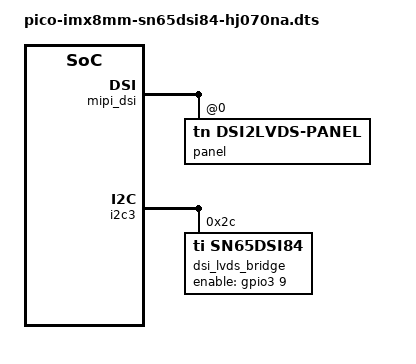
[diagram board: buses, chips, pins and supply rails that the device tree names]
/*
 * Copyright 2018 Technexion Ltd.
 * Copyright 2018 NXP
 *
 * Author: Richard Hu <richard.hu@technexion.com>
 *
 * This program is free software; you can redistribute it and/or
 * modify it under the terms of the GNU General Public License
 * as published by the Free Software Foundation; either version 2
 * of the License, or (at your option) any later version.
 *
 * This program is distributed in the hope that it will be useful,
 * but WITHOUT ANY WARRANTY; without even the implied warranty of
 * MERCHANTABILITY or FITNESS FOR A PARTICULAR PURPOSE.  See the
 * GNU General Public License for more details.
 */

#include "pico-imx8mm.dts"

/ {
	backlight_mipi {
		status = "okay";
	};
};

&mipi_dsi {
	status = "okay";

	panel@0 {
		reg = <0>;
		compatible = "tn,dsi2lvds-panel";
		dsi,flags = <0x0007>;
		dsi,format = <0>;
		dsi,lanes = <4>;
		panel-width-mm  = <153>;
		panel-height-mm = <90>;
		bus-flags = <1>;
		refresh-rate = <60>;
		rotate = <0>;
		/* horz-flip; */
		/* vert-flip; */

		display-timings {
			native-mode = <&timing0>;
			timing0: hj070na {
				clock-frequency = <51000000>;
				hactive = <1024>;
				vactive = <600>;
				hfront-porch = <120>;
				hsync-len = <100>;
				hback-porch = <90>;
				vfront-porch = <1>;
				vsync-len = <33>;
				vback-porch = <1>;
				hsync-active = <1>;
				vsync-active = <1>;
			};
		};
	};
};

&i2c3 {
	dsi_lvds_bridge: sn65dsi84@2c {
		reg = <0x2c>;
		status = "okay";
		compatible = "ti,sn65dsi84";
		#gpio-cells = <2>;
		pinctrl-0 = <&pinctrl_mipi_dsi_rst>;
		enable-gpios = <&gpio3 9 GPIO_ACTIVE_HIGH>;
		sn65dsi84,addresses = <0x09 0x0A 0x0B 0x0D
		                       0x10 0x11 0x12 0x13
                               0x18 0x19 0x1A 0x1B
                               0x20 0x21 0x22 0x23
                               0x24 0x25 0x26 0x27
                               0x28 0x29 0x2A 0x2B
                               0x2C 0x2D 0x2E 0x2F
                               0x30 0x31 0x32 0x33
                               0x34 0x35 0x36 0x37
                               0x38 0x39 0x3A 0x3B
                               0x3C 0x3D 0x3E 0x0D>;

		sn65dsi84,values = </* reset and clock registers */
		                    0x00 0x03 0x10 0x00
                            /* DSI registers */
		                    0x26 0x00 0x1e 0x00
		                    /* LVDS registers */
                            0x7a 0x00 0x03 0x00

                            /* video registers */
                            /* cha-al-len-l, cha-al-len-h, chb-al-len-l, chb-al-len-h */
                            0x00 0x04 0x00 0x00
                            /* cha-v-ds-l, cha-v-ds-h, chb-v-ds-l, chb-v-ds-h */
                            0x00 0x00 0x00 0x00
                            /* cha-sdl, cha-sdh, chb-sdl, chb-sdh */
                            0x21 0x00 0x00 0x00
                            /* cha-hs-pwl, cha-hs-pwh, chb-hs-pwl, chb-hs-pwh */
                            0x64 0x00 0x00 0x00
                            /* cha-vs-pwl, cha-vs-pwh, chb-vs-pwl, chb-vs-pwh */
                            0x21 0x00 0x00 0x00
                            /* cha-hbp, chb-hbp, cha-vbp, chb-vbp*/
                            0x5a 0x00 0x00 0x00
                            /* cha-hfp, chb-hfp, cha-vfp, chb-vfp*/
                            0x00 0x00 0x00 0x00

                            0x00 0x00 0x00 0x01>;
	};
};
